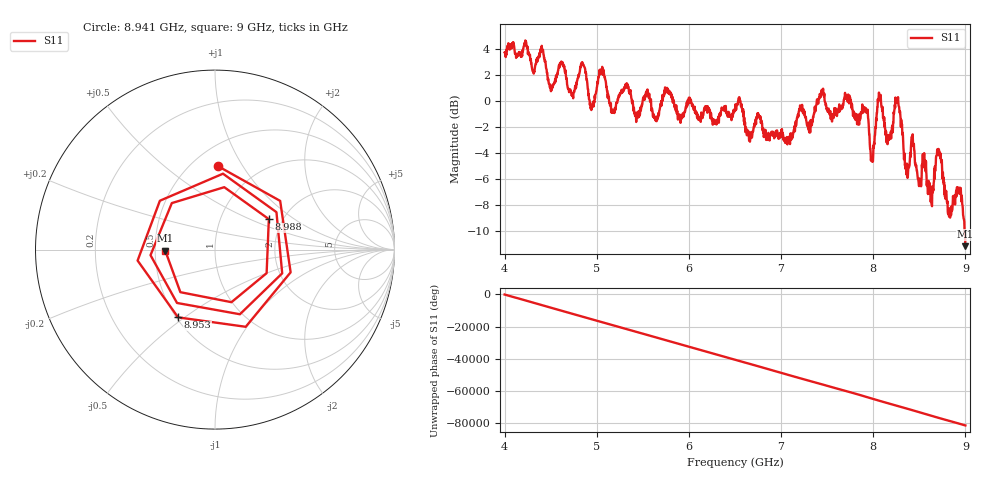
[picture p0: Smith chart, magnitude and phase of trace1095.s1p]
! Created with skrf 1.8.0 (http://scikit-rf.org).
# Hz S RI R 50.0
!freq ReS11 ImS11
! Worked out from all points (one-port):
!   1601 points, 4 GHz to 9 GHz, reference 50 ohm
!   lowest |S11| = -11.2 dB at 9 GHz (marker M1), VSWR 1.77, Z = 28.3 - j0.421 ohm
!   |S11| at or under -10 dB: 8.990992 GHz to end of sweep
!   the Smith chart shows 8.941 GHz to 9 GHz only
!   S11 on the Smith chart (normalised r, x): 8.941 GHz: 0.66, +0.79; 8.953 GHz: 0.51, -0.47; 8.988 GHz: 1.70, +0.65; 9 GHz: 0.57, -0.01
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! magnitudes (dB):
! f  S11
! 4 GHz  3.7
! 4.403 GHz  4.2
! 4.506 GHz  0.9
! 4.625 GHz  2.9
! 4.731 GHz  0.4
! 4.853 GHz  2.8
! 4.941 GHz  -0.7
! 5.047 GHz  2.3
! 5.169 GHz  -0.8
! 5.25 GHz  0.6
! 5.875 GHz  -0.8
! 6.5 GHz  -0.7
! 7.125 GHz  -2.5
! 7.75 GHz  0.3
! 7.922 GHz  -0.9
! 7.988 GHz  -4.6
! 8.062 GHz  0.7
! 8.169 GHz  -2.6
! 8.266 GHz  0.1
! 8.375 GHz  -5.8
! 8.425 GHz  -2.9
! 8.628 GHz  -7.5
! 8.709 GHz  -4.2
! 8.822 GHz  -8.8
! 8.941 GHz  -6.7
! 8.953 GHz  -7.3
! 8.988 GHz  -9.3
! 9 GHz  -11.2
